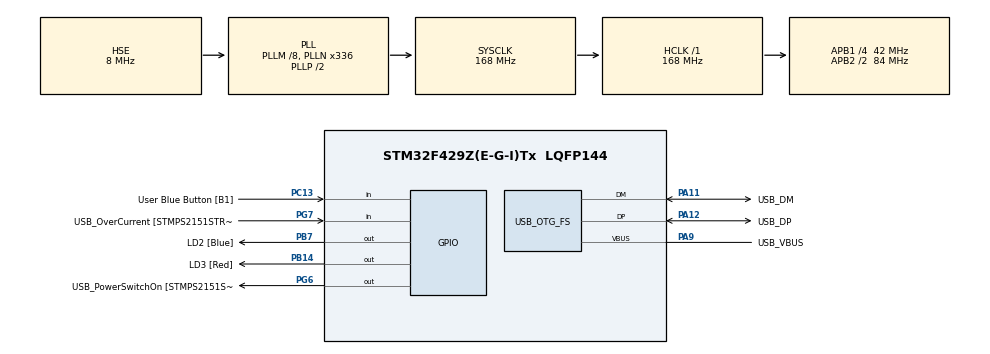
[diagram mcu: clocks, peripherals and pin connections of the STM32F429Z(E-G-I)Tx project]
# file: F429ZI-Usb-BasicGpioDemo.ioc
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Mcu.Family=STM32F4
Mcu.Name=STM32F429Z(E-G-I)Tx
Mcu.Package=LQFP144
NVIC.OTG_FS_IRQn=true\:0\:0\:false
NVIC.PriorityGroup=NVIC_PRIORITYGROUP_4
PA1.GPIO_Label=RMII_REF_CK [LAN8742A-CZ-TR_REFCLK0]
PA1.Signal=ETH_REF_CLK
PA10.GPIO_Label=USB_ID
PA10.Signal=USB_OTG_FS_ID
PA11.GPIO_Label=USB_DM
PA11.Mode=Device_Only
PA11.Signal=USB_OTG_FS_DM
PA12.GPIO_Label=USB_DP
PA12.Mode=Device_Only
PA12.Signal=USB_OTG_FS_DP
PA13.GPIO_Label=TMS
PA13.Signal=SYS_JTMS-SWDIO
PA14.GPIO_Label=TCK
PA14.Signal=SYS_JTCK-SWCLK
PA2.GPIO_Label=RMII_MDIO [LAN8742A-CZ-TR_MDIO]
PA2.Signal=ETH_MDIO
PA7.GPIO_Label=RMII_CRS_DV [LAN8742A-CZ-TR_CRS_DV]
PA7.Signal=ETH_CRS_DV
PA8.GPIO_Label=USB_SOF [TP1]
PA8.Signal=USB_OTG_FS_SOF
PA9.GPIO_Label=USB_VBUS
PA9.Mode=Activate_VBUS
PA9.Signal=USB_OTG_FS_VBUS
PB13.GPIO_Label=RMII_TXD1 [LAN8742A-CZ-TR_TXD1]
PB13.Signal=ETH_TXD1
PB14.GPIO_Label=LD3 [Red]
PB14.Signal=GPIO_Output
PB7.GPIO_Label=LD2 [Blue]
PB7.Signal=GPIO_Output
PC1.GPIO_Label=RMII_MDC [LAN8742A-CZ-TR_MDC]
PC1.Signal=ETH_MDC
PC13.GPIO_Label=User Blue Button [B1]
PC13.Signal=GPIO_Input
PC14/OSC32_IN.Signal=RCC_OSC32_IN
PC15/OSC32_OUT.Signal=RCC_OSC32_OUT
PC4.GPIO_Label=RMII_RXD0 [LAN8742A-CZ-TR_RXD0]
PC4.Signal=ETH_RXD0
PC5.GPIO_Label=RMII_RXD1 [LAN8742A-CZ-TR_RXD1]
PC5.Signal=ETH_RXD1
PD8.GPIO_Label=STLK_RX [STM32F103CBT6_PA3]
PD8.Signal=USART3_TX
PD9.GPIO_Label=STLK_TX [STM32F103CBT6_PA2]
PD9.Signal=USART3_RX
PG11.GPIO_Label=RMII_TX_EN [LAN8742A-CZ-TR_TXEN]
PG11.Signal=ETH_TX_EN
PG13.GPIO_Label=RMII_TXD0 [LAN8742A-CZ-TR_TXD0]
PG13.Signal=ETH_TXD0
PG6.GPIO_Label=USB_PowerSwitchOn [STMPS2151STR_EN]
PG6.Signal=GPIO_Output
PG7.GPIO_Label=USB_OverCurrent [STMPS2151STR_FAULT]
PG7.Signal=GPIO_Input
PH0/OSC_IN.GPIO_Label=MCO [STM32F103CBT6_PA8]
PH0/OSC_IN.Mode=HSE-External-Clock-Source
PH0/OSC_IN.Signal=RCC_OSC_IN
PH1/OSC_OUT.Mode=HSE-External-Clock-Source
PH1/OSC_OUT.Signal=RCC_OSC_OUT
ProjectManager.HeapSize=0x400
ProjectManager.StackSize=0x200
ProjectManager.TargetToolchain=SW4STM32
RCC.48MHZClocksFreq_Value=48000000
RCC.AHBFreq_Value=168000000
RCC.APB1CLKDivider=RCC_HCLK_DIV4
RCC.APB1Freq_Value=42000000
RCC.APB1TimFreq_Value=84000000
RCC.APB2CLKDivider=RCC_HCLK_DIV2
RCC.APB2Freq_Value=84000000
RCC.APB2TimFreq_Value=168000000
RCC.CortexFreq_Value=168000000
RCC.HCLKFreq_Value=168000000
RCC.HSE_VALUE=8000000
RCC.HSI_VALUE=8000000
RCC.LSE_VALUE=32768
RCC.PLLM=8
RCC.PLLMUL=RCC_PLL_MUL9
RCC.PLLN=336
RCC.PLLQ=7
RCC.PRESCALERUSB=RCC_USBPLLCLK_DIV1_5
RCC.SYSCLKFreq_VALUE=168000000
RCC.SYSCLKSource=RCC_SYSCLKSOURCE_PLLCLK
RCC.SYSCLKSourceVirtual=RCC_SYSCLKSOURCE_PLLCLK
RCC.USBFreq_Value=48000000
RCC.VCOOutputFreq_Value=336000000
USB_DEVICE.CLASS_NAME-CDC_FS=CDC
USB_DEVICE.USBD_HandleTypeDef-CDC_FS=hUsbDeviceFS
USB_DEVICE.VirtualMode-CDC_FS=Cdc
USB_DEVICE.VirtualModeFS=Cdc_FS
USB_OTG_FS.VirtualMode=Device_Only
VP_USB_DEVICE_VS_USB_DEVICE_CDC_FS.Mode=CDC_FS
board=NUCLEO-F429ZI

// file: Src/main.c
/**
  ******************************************************************************
  * File Name          : main.c
  * Description        : Main program body
  ******************************************************************************
  *
  * COPYRIGHT(c) 2017 STMicroelectronics
  *
  * Redistribution and use in source and binary forms, with or without modification,
  * are permitted provided that the following conditions are met:
  *   1. Redistributions of source code must retain the above copyright notice,
  *      this list of conditions and the following disclaimer.
  *   2. Redistributions in binary form must reproduce the above copyright notice,
  *      this list of conditions and the following disclaimer in the documentation
  *      and/or other materials provided with the distribution.
  *   3. Neither the name of STMicroelectronics nor the names of its contributors
  *      may be used to endorse or promote products derived from this software
  *      without specific prior written permission.
  *
  * THIS SOFTWARE IS PROVIDED BY THE COPYRIGHT HOLDERS AND CONTRIBUTORS "AS IS"
  * AND ANY EXPRESS OR IMPLIED WARRANTIES, INCLUDING, BUT NOT LIMITED TO, THE
  * IMPLIED WARRANTIES OF MERCHANTABILITY AND FITNESS FOR A PARTICULAR PURPOSE ARE
  * DISCLAIMED. IN NO EVENT SHALL THE COPYRIGHT HOLDER OR CONTRIBUTORS BE LIABLE
  * FOR ANY DIRECT, INDIRECT, INCIDENTAL, SPECIAL, EXEMPLARY, OR CONSEQUENTIAL
  * DAMAGES (INCLUDING, BUT NOT LIMITED TO, PROCUREMENT OF SUBSTITUTE GOODS OR
  * SERVICES; LOSS OF USE, DATA, OR PROFITS; OR BUSINESS INTERRUPTION) HOWEVER
  * CAUSED AND ON ANY THEORY OF LIABILITY, WHETHER IN CONTRACT, STRICT LIABILITY,
  * OR TORT (INCLUDING NEGLIGENCE OR OTHERWISE) ARISING IN ANY WAY OUT OF THE USE
  * OF THIS SOFTWARE, EVEN IF ADVISED OF THE POSSIBILITY OF SUCH DAMAGE.
  *
  ******************************************************************************
  */
#include "stm32f4xx_hal.h"
#include "usb_device.h"
#include "usbd_cdc_if.h"

/* USER CODE BEGIN PV */
/* Private variables ---------------------------------------------------------*/
char msg[100];
volatile GPIO_PinState butU = GPIO_PIN_RESET;
GPIO_PinState mPrevButtU = GPIO_PIN_RESET;
#define USBINBUFFLEN 512
uint8_t userCommand[USBINBUFFLEN];
uint32_t userCommandLn = 0;
uint32_t userCommandLen;
uint8_t mCdcConnected = 0;
uint8_t mCdcGotRxData = 0;

/* USER CODE END PV */

void SystemClock_Config(void);
static void MX_GPIO_Init(void);

/* USER CODE BEGIN PFP */
/* Private function prototypes -----------------------------------------------*/
//static int8_t CDC_Receive (uint8_t* Buf, uint32_t *Len);
void treatUserCommand();
/* USER CODE END PFP */

int main(void)
{

  /* MCU Configuration----------------------------------------------------------*/

  /* Reset of all peripherals, Initializes the Flash interface and the Systick. */
  HAL_Init();

  /* Configure the system clock */
  SystemClock_Config();

  /* Initialize all configured peripherals */
  MX_GPIO_Init();
  MX_USB_DEVICE_Init();

  /* Infinite loop */
  while (1)
  {

  /* USER CODE BEGIN 3 */

	  butU = HAL_GPIO_ReadPin(User_Blue_Button_GPIO_Port, User_Blue_Button_Pin);
		if (butU != mPrevButtU) {	// button state change?
			mPrevButtU = butU;
			if (butU == GPIO_PIN_SET) {	// button pressed?
			    HAL_GPIO_WritePin(LD3_GPIO_Port, LD3_Pin, GPIO_PIN_RESET);
				sprintf(msg, "Butt=0\r\n");
			} else {
			    HAL_GPIO_WritePin(LD3_GPIO_Port, LD3_Pin, GPIO_PIN_SET);
				sprintf(msg, "Butt=1\r\n");
			}
			if (mCdcConnected == 1) {
				CDC_Transmit_FS((uint8_t*)msg, strlen(msg));
				HAL_Delay(20);
			}
		}
		if (mCdcGotRxData == 1) {
			treatUserCommand();
			userCommandLn = 0;
			mCdcGotRxData = 0;
		}
		HAL_Delay(20);

  }
  /* USER CODE END 3 */

}

/** System Clock Configuration
*/
void SystemClock_Config(void)
{

  RCC_OscInitTypeDef RCC_OscInitStruct;
  RCC_ClkInitTypeDef RCC_ClkInitStruct;

  __PWR_CLK_ENABLE();

  __HAL_PWR_VOLTAGESCALING_CONFIG(PWR_REGULATOR_VOLTAGE_SCALE1);

  RCC_OscInitStruct.OscillatorType = RCC_OSCILLATORTYPE_HSE;
  RCC_OscInitStruct.HSEState = RCC_HSE_BYPASS;
  RCC_OscInitStruct.PLL.PLLState = RCC_PLL_ON;
  RCC_OscInitStruct.PLL.PLLSource = RCC_PLLSOURCE_HSE;
  RCC_OscInitStruct.PLL.PLLM = 8;
  RCC_OscInitStruct.PLL.PLLN = 336;
  RCC_OscInitStruct.PLL.PLLP = RCC_PLLP_DIV2;
  RCC_OscInitStruct.PLL.PLLQ = 7;
  HAL_RCC_OscConfig(&RCC_OscInitStruct);

  RCC_ClkInitStruct.ClockType = RCC_CLOCKTYPE_HCLK|RCC_CLOCKTYPE_SYSCLK
                              |RCC_CLOCKTYPE_PCLK1|RCC_CLOCKTYPE_PCLK2;
  RCC_ClkInitStruct.SYSCLKSource = RCC_SYSCLKSOURCE_PLLCLK;
  RCC_ClkInitStruct.AHBCLKDivider = RCC_SYSCLK_DIV1;
  RCC_ClkInitStruct.APB1CLKDivider = RCC_HCLK_DIV4;
  RCC_ClkInitStruct.APB2CLKDivider = RCC_HCLK_DIV2;
  HAL_RCC_ClockConfig(&RCC_ClkInitStruct, FLASH_LATENCY_5);

  HAL_SYSTICK_Config(HAL_RCC_GetHCLKFreq()/1000);

  HAL_SYSTICK_CLKSourceConfig(SYSTICK_CLKSOURCE_HCLK);

  /* SysTick_IRQn interrupt configuration */
  HAL_NVIC_SetPriority(SysTick_IRQn, 1, 0);
}

/** Configure pins as
        * Analog
        * Input
        * Output
        * EVENT_OUT
        * EXTI
     PC1   ------> ETH_MDC
     PA1   ------> ETH_REF_CLK
     PA2   ------> ETH_MDIO
     PA7   ------> ETH_CRS_DV
     PC4   ------> ETH_RXD0
     PC5   ------> ETH_RXD1
     PB13   ------> ETH_TXD1
     PD8   ------> USART3_TX
     PD9   ------> USART3_RX
     PG11   ------> ETH_TX_EN
     PG13   ------> ETH_TXD0
*/
void MX_GPIO_Init(void)
{

  GPIO_InitTypeDef GPIO_InitStruct;

  /* GPIO Ports Clock Enable */
  __GPIOC_CLK_ENABLE();
  __GPIOH_CLK_ENABLE();
  __GPIOA_CLK_ENABLE();
  __GPIOB_CLK_ENABLE();
  __GPIOD_CLK_ENABLE();
  __GPIOG_CLK_ENABLE();

  /*Configure GPIO pin : User_Blue_Button_Pin */
  GPIO_InitStruct.Pin = User_Blue_Button_Pin;
  GPIO_InitStruct.Mode = GPIO_MODE_INPUT;
  GPIO_InitStruct.Pull = GPIO_NOPULL;
  HAL_GPIO_Init(User_Blue_Button_GPIO_Port, &GPIO_InitStruct);

  /*Configure GPIO pins : RMII_MDC_Pin RMII_RXD0_Pin RMII_RXD1_Pin */
  GPIO_InitStruct.Pin = RMII_MDC_Pin|RMII_RXD0_Pin|RMII_RXD1_Pin;
  GPIO_InitStruct.Mode = GPIO_MODE_AF_PP;
  GPIO_InitStruct.Pull = GPIO_NOPULL;
  GPIO_InitStruct.Speed = GPIO_SPEED_HIGH;
  GPIO_InitStruct.Alternate = GPIO_AF11_ETH;
  HAL_GPIO_Init(GPIOC, &GPIO_InitStruct);

  /*Configure GPIO pins : RMII_REF_CK_Pin RMII_MDIO_Pin RMII_CRS_DV_Pin */
  GPIO_InitStruct.Pin = RMII_REF_CK_Pin|RMII_MDIO_Pin|RMII_CRS_DV_Pin;
  GPIO_InitStruct.Mode = GPIO_MODE_AF_PP;
  GPIO_InitStruct.Pull = GPIO_NOPULL;
  GPIO_InitStruct.Speed = GPIO_SPEED_HIGH;
  GPIO_InitStruct.Alternate = GPIO_AF11_ETH;
  HAL_GPIO_Init(GPIOA, &GPIO_InitStruct);

  /*Configure GPIO pin : RMII_TXD1_Pin */
  GPIO_InitStruct.Pin = RMII_TXD1_Pin;
  GPIO_InitStruct.Mode = GPIO_MODE_AF_PP;
  GPIO_InitStruct.Pull = GPIO_NOPULL;
  GPIO_InitStruct.Speed = GPIO_SPEED_HIGH;
  GPIO_InitStruct.Alternate = GPIO_AF11_ETH;
  HAL_GPIO_Init(RMII_TXD1_GPIO_Port, &GPIO_InitStruct);

  /*Configure GPIO pins : LD3_Pin LD2_Pin */
  GPIO_InitStruct.Pin = LD3_Pin|LD2_Pin;
  GPIO_InitStruct.Mode = GPIO_MODE_OUTPUT_PP;
  GPIO_InitStruct.Pull = GPIO_NOPULL;
  GPIO_InitStruct.Speed = GPIO_SPEED_LOW;
  HAL_GPIO_Init(GPIOB, &GPIO_InitStruct);

  /*Configure GPIO pins : STLK_RX_Pin STLK_TX_Pin */
  GPIO_InitStruct.Pin = STLK_RX_Pin|STLK_TX_Pin;
  GPIO_InitStruct.Mode = GPIO_MODE_AF_PP;
  GPIO_InitStruct.Pull = GPIO_NOPULL;
  GPIO_InitStruct.Speed = GPIO_SPEED_HIGH;
  GPIO_InitStruct.Alternate = GPIO_AF7_USART3;
  HAL_GPIO_Init(GPIOD, &GPIO_InitStruct);

  /*Configure GPIO pin : USB_PowerSwitchOn_Pin */
  GPIO_InitStruct.Pin = USB_PowerSwitchOn_Pin;
  GPIO_InitStruct.Mode = GPIO_MODE_OUTPUT_PP;
  GPIO_InitStruct.Pull = GPIO_NOPULL;
  GPIO_InitStruct.Speed = GPIO_SPEED_LOW;
  HAL_GPIO_Init(USB_PowerSwitchOn_GPIO_Port, &GPIO_InitStruct);

  /*Configure GPIO pin : USB_OverCurrent_Pin */
  GPIO_InitStruct.Pin = USB_OverCurrent_Pin;
  GPIO_InitStruct.Mode = GPIO_MODE_INPUT;
  GPIO_InitStruct.Pull = GPIO_NOPULL;
  HAL_GPIO_Init(USB_OverCurrent_GPIO_Port, &GPIO_InitStruct);

  /*Configure GPIO pins : RMII_TX_EN_Pin RMII_TXD0_Pin */
  GPIO_InitStruct.Pin = RMII_TX_EN_Pin|RMII_TXD0_Pin;
  GPIO_InitStruct.Mode = GPIO_MODE_AF_PP;
  GPIO_InitStruct.Pull = GPIO_NOPULL;
  GPIO_InitStruct.Speed = GPIO_SPEED_HIGH;
  GPIO_InitStruct.Alternate = GPIO_AF11_ETH;
  HAL_GPIO_Init(GPIOG, &GPIO_InitStruct);

  /*Configure GPIO pin Output Level */
  HAL_GPIO_WritePin(GPIOB, LD3_Pin|LD2_Pin, GPIO_PIN_RESET);

  /*Configure GPIO pin Output Level */
  HAL_GPIO_WritePin(USB_PowerSwitchOn_GPIO_Port, USB_PowerSwitchOn_Pin, GPIO_PIN_RESET);

}

/* USER CODE BEGIN 4 */
void treatUserCommand() {
	char c;
	c = userCommand[0];
	switch (c) {
	case 'S':		// Set Led = 0 or 1
		if (userCommand[1] == 'L') {
			if (userCommand[2] == '=') {
				if (userCommand[3] == '0') {
				    HAL_GPIO_WritePin(LD2_GPIO_Port, LD2_Pin, GPIO_PIN_RESET);
					sprintf(msg, "OK\r\n");
				} else if (userCommand[3] == '1') {
				    HAL_GPIO_WritePin(LD2_GPIO_Port, LD2_Pin, GPIO_PIN_SET);
					sprintf(msg, "OK\r\n");
				} else {
					sprintf(msg, "ERROR\r\n");
				}
				CDC_Transmit_FS(msg, strlen(msg));
				return;
			}
		}
		break;
	}
	sprintf(msg, "ERROR userCommand=%s\r\n", userCommand);
	CDC_Transmit_FS(msg, strlen(msg));
	return;
}

/* USER CODE END 4 */

/************************ (C) COPYRIGHT STMicroelectronics *****END OF FILE****/
